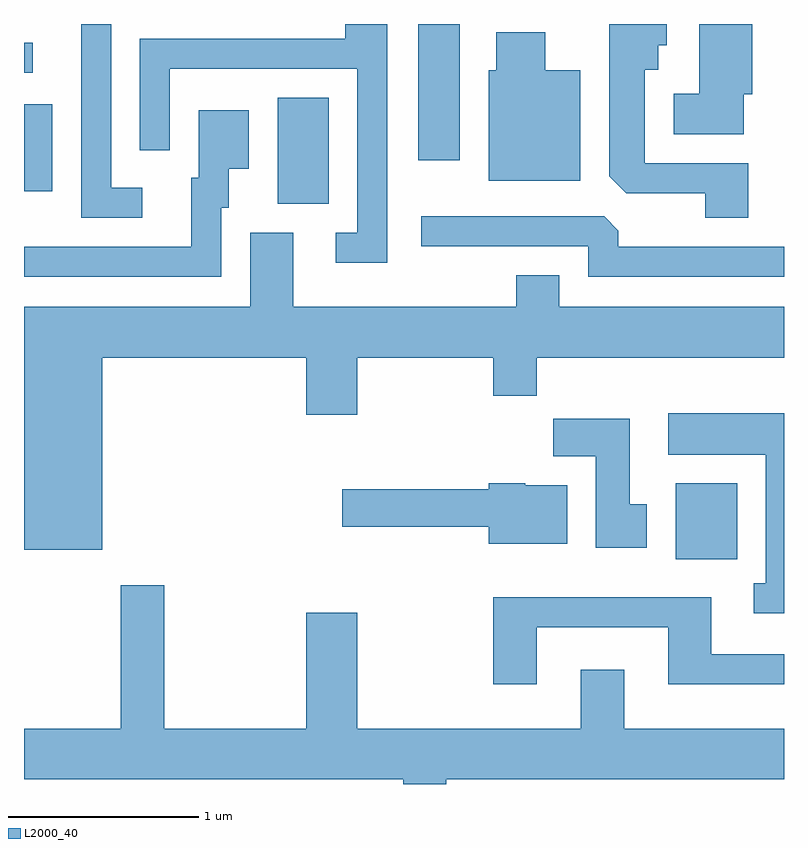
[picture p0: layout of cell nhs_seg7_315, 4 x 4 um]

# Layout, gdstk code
import gdstk
lib = gdstk.Library(unit=1e-6, precision=1e-09)
def R(c, l, rs):  # rectangles x0, y0, x1, y1
    for r in rs: c.add(gdstk.rectangle(r[:2], r[2:], *l))
def P(c, l, *ps):  # polygons
    for p in ps: c.add(gdstk.Polygon(p, *l))
L2000_40 = (2000, 40)

nhs_seg7_315 = lib.new_cell('nhs_seg7_315')
R(nhs_seg7_315, L2000_40, [(197.041,1755.436,197.364,1755.834), (194.946,1757.306,195.214,1757.864), (193.611,1757.371,193.759,1757.829), (195.686,1757.536,195.904,1758.252), (193.611,1757.996,193.658,1758.154)])
P(nhs_seg7_315, L2000_40, [(197.424,1757.519),(196.879,1757.519),(196.879,1758.011),(196.949,1758.011),(196.949,1758.141),(196.994,1758.141),(196.994,1758.252),(196.691,1758.252),(196.691,1757.452),(196.782,1757.361),(197.196,1757.361),(197.196,1757.231),(197.424,1757.231)],
  [(197.399,1757.881),(197.444,1757.881),(197.444,1758.252),(197.166,1758.252),(197.166,1757.884),(197.031,1757.884),(197.031,1757.671),(197.399,1757.671)],
  [(194.233,1757.389),(194.069,1757.389),(194.069,1758.252),(193.911,1758.252),(193.911,1757.231),(194.233,1757.231)],
  [(195.524,1758.252),(195.301,1758.252),(195.301,1758.174),(194.221,1758.174),(194.221,1757.588),(194.379,1757.588),(194.379,1758.016),(195.366,1758.016),(195.366,1757.154),(195.253,1757.154),(195.253,1756.996),(195.524,1756.996)],
  [(196.539,1758.009),(196.354,1758.009),(196.354,1758.209),(196.096,1758.209),(196.096,1758.009),(196.056,1758.009),(196.056,1757.426),(196.539,1757.426)],
  [(194.649,1757.286),(194.689,1757.286),(194.689,1757.491),(194.794,1757.491),(194.794,1757.799),(194.531,1757.799),(194.531,1757.444),(194.491,1757.444),(194.491,1757.079),(193.611,1757.079),(193.611,1756.921),(194.649,1756.921)],
  [(197.611,1757.079),(196.739,1757.079),(196.739,1757.164),(196.664,1757.239),(195.703,1757.239),(195.703,1757.081),(196.581,1757.081),(196.581,1756.921),(197.611,1756.921)],
  [(194.024,1756.496),(195.096,1756.496),(195.096,1756.196),(195.364,1756.196),(195.364,1756.496),(196.081,1756.496),(196.081,1756.296),(196.309,1756.296),(196.309,1756.496),(197.611,1756.496),(197.611,1756.764),(196.429,1756.764),(196.429,1756.929),(196.201,1756.929),(196.201,1756.764),(195.029,1756.764),(195.029,1757.154),(194.801,1757.154),(194.801,1756.764),(193.611,1756.764),(193.611,1755.486),(194.024,1755.486)],
  [(197.611,1756.204),(197.001,1756.204),(197.001,1755.986),(197.516,1755.986),(197.516,1755.309),(197.453,1755.309),(197.453,1755.151),(197.611,1755.151)],
  [(196.889,1755.724),(196.799,1755.724),(196.799,1756.174),(196.396,1756.174),(196.396,1755.976),(196.621,1755.976),(196.621,1755.496),(196.889,1755.496)],
  [(196.469,1755.824),(196.25,1755.824),(196.25,1755.834),(196.056,1755.834),(196.056,1755.804),(195.286,1755.804),(195.286,1755.606),(196.056,1755.606),(196.056,1755.516),(196.469,1755.516)],
  [(195.834,1754.276),(197.611,1754.276),(197.611,1754.544),(196.769,1754.544),(196.769,1754.854),(196.541,1754.854),(196.541,1754.544),(195.364,1754.544),(195.364,1755.154),(195.096,1755.154),(195.096,1754.544),(194.349,1754.544),(194.349,1755.299),(194.121,1755.299),(194.121,1754.544),(193.611,1754.544),(193.611,1754.276),(195.606,1754.276),(195.606,1754.252),(195.834,1754.252)],
  [(196.309,1755.076),(197.001,1755.076),(197.001,1754.776),(197.611,1754.776),(197.611,1754.934),(197.229,1754.934),(197.229,1755.234),(196.081,1755.234),(196.081,1754.776),(196.309,1754.776)])

lib.write_gds('nhs_seg7_315.gds')
